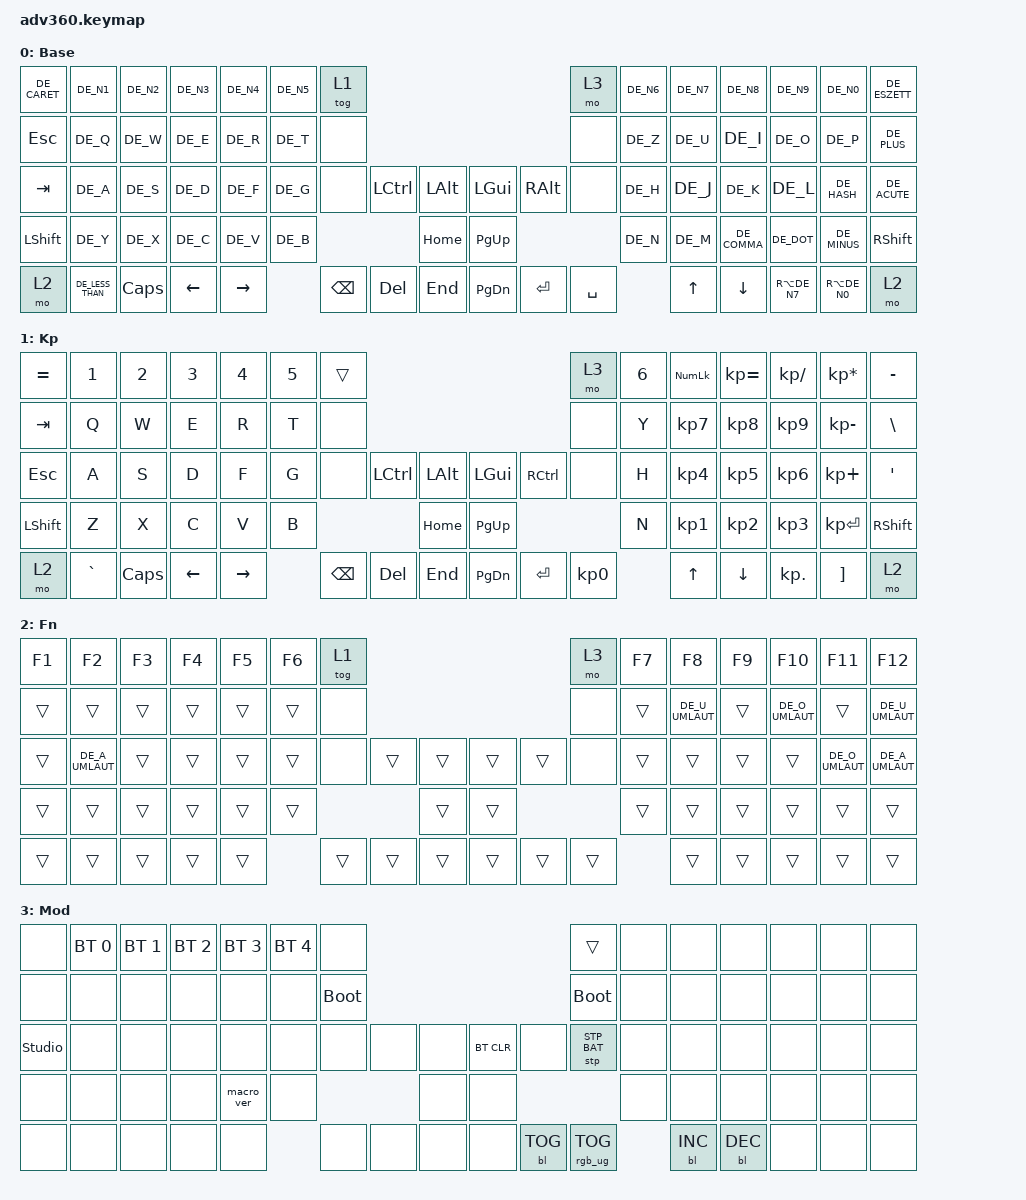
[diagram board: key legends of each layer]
#include "keys_de.h"
#include <dt-bindings/zmk/stp.h>
#include <behaviors.dtsi>
#include <dt-bindings/zmk/backlight.h>
#include <dt-bindings/zmk/bt.h>
#include <dt-bindings/zmk/keys.h>
#include <dt-bindings/zmk/rgb.h>

/ {
    behaviors {
        #include "macros.dtsi"
      #include "version.dtsi"

        hm: homerow_mods {
            compatible = "zmk,behavior-hold-tap";
            label = "HOMEROW_MODS";
            #binding-cells = <2>;
            tapping-term-ms = <200>;
            quick_tap_ms = <175>;
            flavor = "tap-preferred";
            bindings = <&kp>, <&kp>;
        };
    };

    keymap {
        compatible = "zmk,keymap";

        default_layer {
            display-name = "Base";
            bindings = <
&kp DE_CARET  &kp DE_N1         &kp DE_N2  &kp DE_N3  &kp DE_N4  &kp DE_N5  &tog 1                                                       &mo 3      &kp DE_N6  &kp DE_N7  &kp DE_N8     &kp DE_N9      &kp DE_N0      &kp DE_ESZETT
&kp ESC       &kp DE_Q          &kp DE_W   &kp DE_E   &kp DE_R   &kp DE_T   &none                                                        &none      &kp DE_Z   &kp DE_U   &kp DE_I      &kp DE_O       &kp DE_P       &kp DE_PLUS
&kp TAB       &kp DE_A          &kp DE_S   &kp DE_D   &kp DE_F   &kp DE_G   &none     &kp LCTRL  &kp LALT      &kp LGUI   &kp RIGHT_ALT  &none      &kp DE_H   &kp DE_J   &kp DE_K      &kp DE_L       &kp DE_HASH    &kp DE_ACUTE
&kp LSHFT     &kp DE_Y          &kp DE_X   &kp DE_C   &kp DE_V   &kp DE_B                        &kp HOME      &kp PG_UP                            &kp DE_N   &kp DE_M   &kp DE_COMMA  &kp DE_DOT     &kp DE_MINUS   &kp RSHFT
&mo 2         &kp DE_LESS_THAN  &kp CAPS   &kp LEFT   &kp RIGHT             &kp BSPC  &kp DEL    &kp END       &kp PG_DN  &kp ENTER      &kp SPACE             &kp UP     &kp DOWN      &kp RA(DE_N7)  &kp RA(DE_N0)  &mo 2
            >;
        };

        keypad {
            display-name = "Kp";
            bindings = <
&kp EQUAL  &kp N1     &kp N2    &kp N3    &kp N4     &kp N5  &trans                                                   &mo 3      &kp N6  &kp KP_NUM  &kp KP_EQUAL  &kp KP_DIVIDE  &kp KP_MULTIPLY  &kp MINUS
&kp TAB    &kp Q      &kp W     &kp E     &kp R      &kp T   &none                                                    &none      &kp Y   &kp KP_N7   &kp KP_N8     &kp KP_N9      &kp KP_MINUS     &kp BSLH
&kp ESC    &kp A      &kp S     &kp D     &kp F      &kp G   &none     &kp LCTRL  &kp LALT      &kp LGUI   &kp RCTRL  &none      &kp H   &kp KP_N4   &kp KP_N5     &kp KP_N6      &kp KP_PLUS      &kp SQT
&kp LSHFT  &kp Z      &kp X     &kp C     &kp V      &kp B                        &kp HOME      &kp PG_UP                        &kp N   &kp KP_N1   &kp KP_N2     &kp KP_N3      &kp KP_ENTER     &kp RSHFT
&mo 2      &kp GRAVE  &kp CAPS  &kp LEFT  &kp RIGHT          &kp BSPC  &kp DEL    &kp END       &kp PG_DN  &kp ENTER  &kp KP_N0          &kp UP      &kp DOWN      &kp KP_DOT     &kp RBKT         &mo 2
            >;
        };

        fn {
            display-name = "Fn";
            bindings = <
&kp F1  &kp F2           &kp F3  &kp F4  &kp F5  &kp F6  &tog 1                                      &mo 3   &kp F7  &kp F8           &kp F9  &kp F10          &kp F11          &kp F12
&trans  &trans           &trans  &trans  &trans  &trans  &none                                       &none   &trans  &kp DE_U_UMLAUT  &trans  &kp DE_O_UMLAUT  &trans           &kp DE_U_UMLAUT
&trans  &kp DE_A_UMLAUT  &trans  &trans  &trans  &trans  &none   &trans  &trans      &trans  &trans  &none   &trans  &trans           &trans  &trans           &kp DE_O_UMLAUT  &kp DE_A_UMLAUT
&trans  &trans           &trans  &trans  &trans  &trans                  &trans      &trans                  &trans  &trans           &trans  &trans           &trans           &trans
&trans  &trans           &trans  &trans  &trans          &trans  &trans  &trans      &trans  &trans  &trans          &trans           &trans  &trans           &trans           &trans
            >;
        };

        mod {
            display-name = "Mod";
            bindings = <
&none           &bt BT_SEL 0  &bt BT_SEL 1  &bt BT_SEL 2  &bt BT_SEL 3  &bt BT_SEL 4  &none                                                  &trans           &none  &none       &none       &none  &none  &none
&none           &none         &none         &none         &none         &none         &bootloader                                            &bootloader      &none  &none       &none       &none  &none  &none
&studio_unlock  &none         &none         &none         &none         &none         &none        &none  &none      &bt BT_CLR  &none       &stp STP_BAT     &none  &none       &none       &none  &none  &none
&none           &none         &none         &none         &macro_ver    &none                             &none      &none                                    &none  &none       &none       &none  &none  &none
&none           &none         &none         &none         &none                       &none        &none  &none      &none       &bl BL_TOG  &rgb_ug RGB_TOG         &bl BL_INC  &bl BL_DEC  &none  &none  &none
            >;
        };

        extra1 {
            display-name = "Red";
            status = "reserved";
        };

        extra2 {
            display-name = "Purple";
            status = "reserved";
        };

        extra3 {
            display-name = "Cyan";
            status = "reserved";
        };

        extra4 {
            display-name = "Yellow";
            status = "reserved";
        };
    };
};
